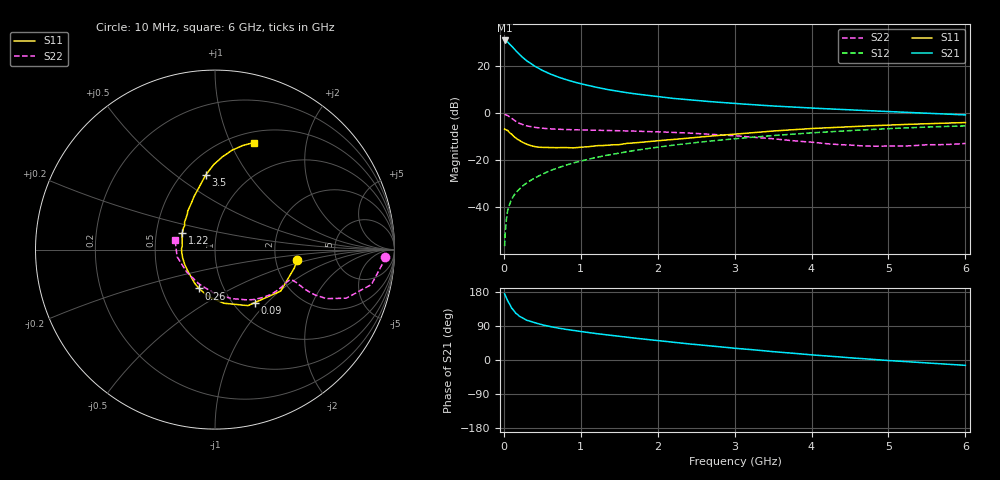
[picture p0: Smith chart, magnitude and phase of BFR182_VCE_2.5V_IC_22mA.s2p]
! Infineon Technologies  Discrete & RF Semiconductors
! BFR182
! VCE =  2.5 V,  IC =  22 mA
! Common Emitter S-Parameters:  Nov 2015
# GHz  S  MA  R  50
!  f  S11  S21  S12  S22
! GHz  MAG  ANG  MAG  ANG  MAG  ANG  MAG  ANG
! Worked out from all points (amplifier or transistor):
!   210 points, 10 MHz to 6 GHz, reference 50 ohm
!   highest |S21| = 30.9 dB at 10 MHz (marker M1)
!   |S21| within 3 dB of that: start of sweep to 118.6 MHz
!   unconditionally stable (mu >= 1): 457.3 MHz to 2.533 GHz
!   at 185 MHz: K = 0.75, MSG = 29.2 dB, |S12| = -32.7 dB
!   at 1.52 GHz: K = 1.06, MAG = 11.5 dB, |S12| = -16.8 dB
!   at 6 GHz: K = 0.90, MSG = 2.3 dB, |S12| = -5.4 dB
!   S11 on the Smith chart (normalised r, x): 10 MHz: 2.65, -0.39; 90 MHz: 1.24, -0.85; 260 MHz: 0.77, -0.35; 1.22 GHz: 0.68, +0.13; 3.5 GHz: 0.65, +0.65; 6 GHz: 0.62, +1.23
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0.01  0.4621 -7.1  35.19 174.7  0.0015 88.7  0.9499 -2.4
0.02  0.4531 -13.3  34.7 169.6  0.0031 81.2  0.9335 -5.3
0.05  0.4327 -32.3  32.6 155.8  0.0085 76.5  0.893 -12.6
0.09  0.3689 -53.3  27.87 141.7  0.0135 74.5  0.8012 -18.6
0.1  0.3623 -59.5  27 137.5  0.0147 74.2  0.7798 -20.3
0.15  0.3029 -80.6  21.78 124.2  0.02 70.7  0.6799 -23.7
0.2  0.267 -96.4  17.96 115.9  0.0245 71.4  0.6142 -24.4
0.26  0.234 -112.2  14.59 108.7  0.0298 71.0  0.5631 -24.0
0.3  0.2193 -121.0  12.9 104.8  0.0333 72.0  0.5381 -23.6
0.4  0.1962 -137.7  10.03 98.2  0.0419 73.3  0.5013 -22.4
0.5  0.1884 -153.3  8.133 92.6  0.0506 73.6  0.4795 -21.8
0.7  0.186 -172.8  5.928 84.4  0.0689 74.4  0.4573 -21.7
0.8  0.1868 179.2  5.215 81.0  0.0779 73.5  0.4512 -22.1
1.02  0.1908 164.4  4.165 74.7  0.0981 72.8  0.4414 -23.8
1.22  0.2052 153.2  3.519 69.3  0.1169 71.8  0.4339 -25.9
1.6  0.2288 137.9  2.73 60.0  0.1525 68.8  0.421 -30.9
2.02  0.2637 125.0  2.231 50.8  0.1917 65.1  0.4027 -37.5
3.1  0.3703 102.7  1.574 29.4  0.2965 53.8  0.3227 -59.7
3.5  0.4191 97.0  1.426 22.0  0.3359 49.5  0.2875 -71.6
4.1  0.4822 89.7  1.266 12.2  0.3921 42.0  0.2336 -95.5
5.1  0.5688 79.2  1.072 -2.6  0.4791 29.2  0.2003 -147.9
6  0.6346 70.0  0.922 -14.1  0.5382 16.5  0.2279 167.1
